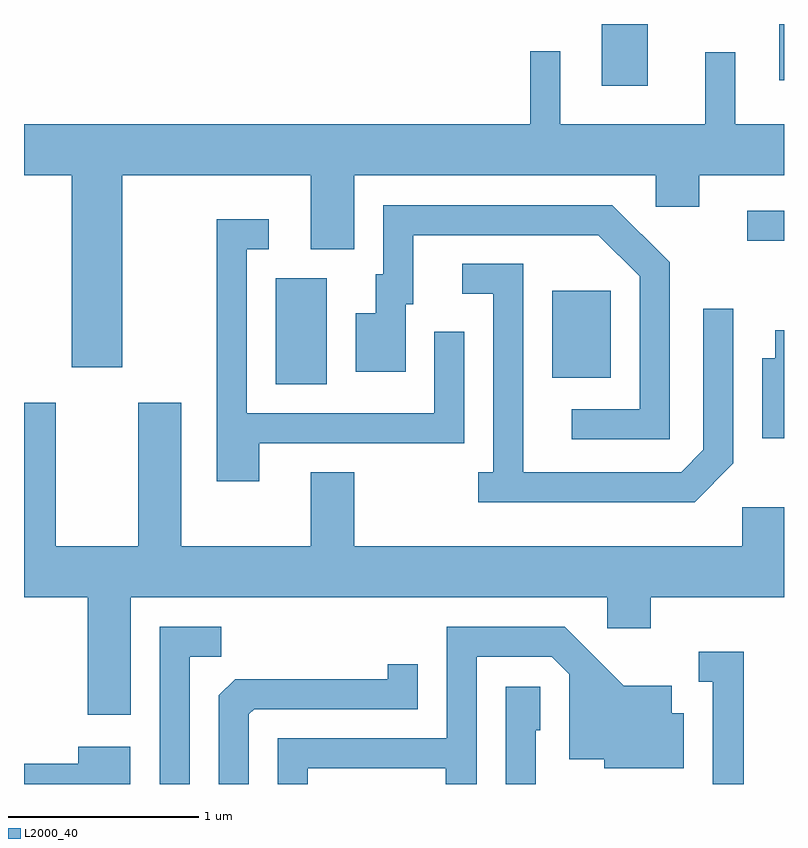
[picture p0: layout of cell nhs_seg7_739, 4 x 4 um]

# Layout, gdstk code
import gdstk
lib = gdstk.Library(unit=1e-6, precision=1e-09)
def R(c, l, rs):  # rectangles x0, y0, x1, y1
    for r in rs: c.add(gdstk.rectangle(r[:2], r[2:], *l))
def P(c, l, *ps):  # polygons
    for p in ps: c.add(gdstk.Polygon(p, *l))
L2000_40 = (2000, 40)

nhs_seg7_739 = lib.new_cell('nhs_seg7_739')
R(nhs_seg7_739, L2000_40, [(208.936,1684.356,209.204,1684.914), (210.391,1684.391,210.699,1684.849), (211.418,1685.111,211.611,1685.269), (210.651,1685.926,210.894,1686.252), (211.586,1685.956,211.611,1686.252), (211.236,1686.251,211.434,1686.252)])
P(nhs_seg7_739, L2000_40, [(208.129,1685.456),(209.121,1685.456),(209.121,1685.066),(209.349,1685.066),(209.349,1685.456),(210.936,1685.456),(210.936,1685.291),(211.164,1685.291),(211.164,1685.456),(211.611,1685.456),(211.611,1685.724),(211.354,1685.724),(211.354,1686.103),(211.196,1686.103),(211.196,1685.724),(210.434,1685.724),(210.434,1686.108),(210.276,1686.108),(210.276,1685.724),(207.611,1685.724),(207.611,1685.456),(207.861,1685.456),(207.861,1684.446),(208.129,1684.446)],
  [(211.009,1684.997),(210.707,1685.299),(209.501,1685.299),(209.501,1684.934),(209.461,1684.934),(209.461,1684.729),(209.356,1684.729),(209.356,1684.421),(209.619,1684.421),(209.619,1684.776),(209.659,1684.776),(209.659,1685.141),(210.634,1685.141),(210.851,1684.924),(210.851,1684.224),(210.493,1684.224),(210.493,1684.066),(211.009,1684.066)],
  [(208.849,1684.046),(209.929,1684.046),(209.929,1684.633),(209.771,1684.633),(209.771,1684.204),(208.784,1684.204),(208.784,1685.066),(208.898,1685.066),(208.898,1685.224),(208.626,1685.224),(208.626,1683.846),(208.849,1683.846)],
  [(211.344,1683.939),(211.344,1684.753),(211.186,1684.753),(211.186,1684.012),(211.069,1683.894),(210.239,1683.894),(210.239,1684.989),(209.918,1684.989),(209.918,1684.831),(210.081,1684.831),(210.081,1683.894),(210.003,1683.894),(210.003,1683.736),(211.142,1683.736)],
  [(211.611,1684.639),(211.566,1684.639),(211.566,1684.494),(211.496,1684.494),(211.496,1684.071),(211.611,1684.071)],
  [(208.174,1683.236),(210.681,1683.236),(210.681,1683.071),(210.909,1683.071),(210.909,1683.236),(211.611,1683.236),(211.611,1683.709),(211.391,1683.709),(211.391,1683.504),(209.349,1683.504),(209.349,1683.894),(209.121,1683.894),(209.121,1683.504),(208.439,1683.504),(208.439,1684.259),(208.211,1684.259),(208.211,1683.504),(207.779,1683.504),(207.779,1684.259),(207.611,1684.259),(207.611,1683.236),(207.946,1683.236),(207.946,1682.616),(208.174,1682.616)],
  [(209.104,1682.336),(209.831,1682.336),(209.831,1682.252),(209.994,1682.252),(209.994,1682.921),(210.389,1682.921),(210.481,1682.829),(210.481,1682.381),(210.666,1682.381),(210.666,1682.336),(211.084,1682.336),(211.084,1682.624),(211.019,1682.624),(211.019,1682.769),(210.767,1682.769),(210.457,1683.079),(209.836,1683.079),(209.836,1682.494),(208.946,1682.494),(208.946,1682.252),(209.104,1682.252)],
  [(208.484,1682.921),(208.648,1682.921),(208.648,1683.079),(208.326,1683.079),(208.326,1682.252),(208.484,1682.252)],
  [(211.399,1682.949),(211.163,1682.949),(211.163,1682.791),(211.236,1682.791),(211.236,1682.252),(211.399,1682.252)],
  [(208.794,1682.619),(208.822,1682.646),(209.684,1682.646),(209.684,1682.883),(209.526,1682.883),(209.526,1682.804),(208.722,1682.804),(208.636,1682.719),(208.636,1682.252),(208.794,1682.252)],
  [(210.304,1682.536),(210.329,1682.536),(210.329,1682.764),(210.146,1682.764),(210.146,1682.252),(210.304,1682.252)],
  [(208.169,1682.449),(207.896,1682.449),(207.896,1682.359),(207.611,1682.359),(207.611,1682.252),(208.169,1682.252)])

lib.write_gds('nhs_seg7_739.gds')
